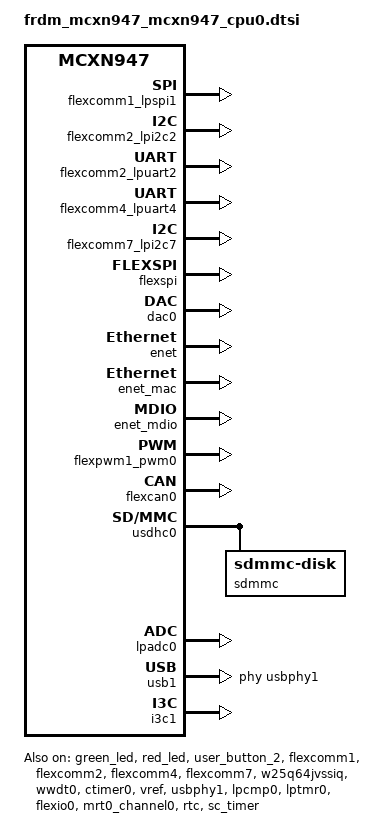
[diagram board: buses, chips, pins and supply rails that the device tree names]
/*
 * Copyright 2024 NXP
 *
 * SPDX-License-Identifier: Apache-2.0
 */

/* Common dts file to enable supported features for CPU 0.
 * This file is included by both the default variant
 * which is run from internal flash and the QSPI variant.
 */
/dts-v1/;

#include <nxp/nxp_mcxn94x.dtsi>
#include "frdm_mcxn947.dtsi"

/ {
	cpus {
		/delete-node/ cpu@1;
	};

	chosen {
		zephyr,sram = &sram0;
		zephyr,flash = &flash;
		zephyr,flash-controller = &fmu;
		zephyr,code-partition = &slot0_partition;
		zephyr,uart-mcumgr = &flexcomm4_lpuart4;
		zephyr,console = &flexcomm4_lpuart4;
		zephyr,shell-uart = &flexcomm4_lpuart4;
		zephyr,canbus = &flexcan0;
	};

	aliases{
		watchdog0 = &wwdt0;
		pwm-0 = &flexpwm1_pwm0;
		pwm-1 = &sc_timer;
		rtc = &rtc;
	};
};

/*
 * Default for this board is to allocate SRAM0-5 to cpu0 but the
 * application can have an application specific device tree to
 * allocate the SRAM0-7 differently.
 *
 * For example, SRAM0-6 could be allocated to cpu0 with only SRAM7
 * for cpu1. This would require the value of sram0 to have a DT_SIZE_K
 * of 384. You would have to make updates to cpu1 sram settings as well.
 */
&sram0 {
	compatible = "mmio-sram";
	reg = <0x20000000 DT_SIZE_K(320)>;
};

&gpio4 {
	status = "okay";
};

&gpio1 {
	status = "okay";
};

&gpio0 {
	status = "okay";
};

&gpio2 {
	status = "okay";
};

&green_led {
	status = "okay";
};

&red_led {
	status = "okay";
};

&user_button_2 {
	status = "okay";
};

&edma0 {
	status = "okay";
};

&flexcomm1 {
	status = "okay";
};

&flexcomm1_lpspi1 {
	status = "okay";
};

&flexcomm2 {
	status = "okay";
};

&flexcomm2_lpi2c2 {
	status = "okay";
};

/*
 *LPFLEXCOMM supports UART and I2C on the same instance, enable this for
 * LFLEXCOMM2
 */
&flexcomm2_lpuart2 {
	status = "okay";
};

&flexcomm4 {
	status = "okay";
};

&flexcomm4_lpuart4 {
	status = "okay";
};

&flexcomm7 {
	status = "okay";
};

&flexcomm7_lpi2c7 {
	status = "okay";
};

&flexspi {
	status = "okay";
};

&w25q64jvssiq {
	status = "okay";
};

&dac0 {
	status = "okay";
};

&enet {
	status = "okay";
};

&enet_mac {
	status = "okay";
};

&enet_mdio {
	status = "okay";
};

&wwdt0 {
	status = "okay";
};

&flexpwm1_pwm0 {
	status = "okay";
};

&flexcan0 {
	status = "okay";
};

&ctimer0 {
	status = "okay";
};

&usdhc0 {
	status = "okay";
	sdmmc {
		compatible = "zephyr,sdmmc-disk";
		disk-name = "SD";
		status = "okay";
	};
};

&vref {
	status = "okay";
};

&lpadc0 {
	status = "okay";
};

zephyr_udc0: &usb1 {
	status = "okay";
	phy-handle = <&usbphy1>;
};

&usbphy1 {
	status = "okay";
	tx-d-cal = <4>;
	tx-cal-45-dp-ohms = <7>;
	tx-cal-45-dm-ohms = <7>;
};

&lpcmp0 {
	status = "okay";
};

&lptmr0 {
	status = "okay";
};

&i3c1 {
	status = "okay";
};

&flexio0 {
	status = "okay";
};

&mrt0_channel0 {
	status = "okay";
};

&rtc {
	status = "okay";
};

&sc_timer {
	status = "okay";
};
